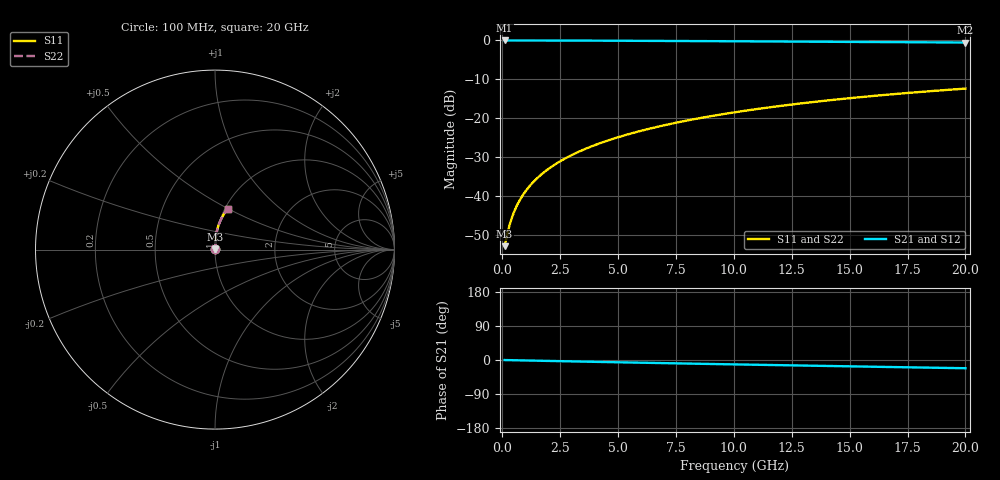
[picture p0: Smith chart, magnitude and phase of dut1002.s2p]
! Touchstone file exported from HFSS 2024.1.0
!  File:  C:/UserFiles/LocalFiles/RDL_TSV_Batchsim/temp_RDL_top_1002_1780042265.aedt
!  Generated:  04:14:35 PM May 29, 2026
!  Design:  RDL_top
!  Project:  temp_RDL_top_1002_1780042265
!  Setup:  Setup1
!  Solution:  Sweep
! Variables:
!  dtsv = 10.80580581um
!  hbump = 3um
!  htsv = 67.44um
!  ldown = 100um
!  lrdl = 269.97um
!  p = 40
!  p1 = 47.87um
!  rhole = 1um
!  t = 450um
!  tdown = 3.915915916um
!  trdl = 2.91um
!  wdown = 15.38538539um
!  wrdl = 19.79um
# GHz S MA R 50.000000
! Terminal data exported
! Port[1] = Box2_T1
! Port[2] = Box2_T2
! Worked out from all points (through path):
!   200 points, 100 MHz to 20 GHz, reference 50 ohm
!   highest |S21| = -0.02 dB at 100 MHz (marker M1); lowest = -0.5 dB at 20 GHz (marker M2)
!   group delay of S21, straight-line fit = 2.99 ps
!   lowest |S11| = -53.0 dB at 100 MHz (marker M3), VSWR 1.00, Z = 50.2 + j0.12 ohm
!   |S11| at or under -10 dB: start of sweep to end of sweep
!   |S22| runs from -53.0 to -12.4 dB; largest |S21 - S12| = 3.2e-15
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0.1  0.00225 32.1  0.9981 -0.1  0.9981 -0.1  0.00225 32.1
! Gamma 0 0 0 0
! Port Impedance 50 0 50 0
0.2  0.003074 50.4  0.998 -0.3  0.998 -0.3  0.003074 50.4
0.3  0.004056 60.0  0.9979 -0.4  0.9979 -0.4  0.004056 60.0
0.4  0.005085 65.7  0.9978 -0.5  0.9978 -0.5  0.005085 65.7
0.5  0.006127 69.4  0.9978 -0.6  0.9978 -0.6  0.006127 69.4
0.6  0.007174 72.1  0.9977 -0.8  0.9977 -0.8  0.007174 72.1
0.8  0.009281 75.8  0.9975 -1.0  0.9975 -1.0  0.009281 75.8
1.1  0.01248 79.2  0.9972 -1.4  0.9972 -1.4  0.01248 79.2
1.3  0.01463 80.7  0.9971 -1.6  0.9971 -1.6  0.01463 80.7
1.6  0.01789 82.3  0.9967 -2.0  0.9967 -2.0  0.01789 82.3
2.1  0.02338 84.0  0.9961 -2.6  0.9961 -2.6  0.02338 84.0
2.7  0.03008 85.1  0.9951 -3.3  0.9951 -3.3  0.03008 85.1
3.5  0.03917 86.0  0.9936 -4.3  0.9936 -4.3  0.03917 86.0
4.2  0.04728 86.3  0.992 -5.1  0.992 -5.1  0.04728 86.3
5  0.05672 86.3  0.9899 -6.0  0.9899 -6.0  0.05672 86.3
5.9  0.06753 86.1  0.9874 -7.1  0.9874 -7.1  0.06753 86.1
6.8  0.07851 85.7  0.9847 -8.1  0.9847 -8.1  0.07851 85.7
8.4  0.09833 84.6  0.9796 -9.9  0.9796 -9.9  0.09833 84.6
10.1  0.1196 83.1  0.9739 -11.7  0.9739 -11.7  0.1196 83.1
13.4  0.1608 79.7  0.9626 -15.1  0.9626 -15.1  0.1608 79.7
16.7  0.2011 76.2  0.9509 -18.5  0.9509 -18.5  0.2011 76.2
20  0.2398 72.7  0.9387 -21.7  0.9387 -21.7  0.2398 72.7
